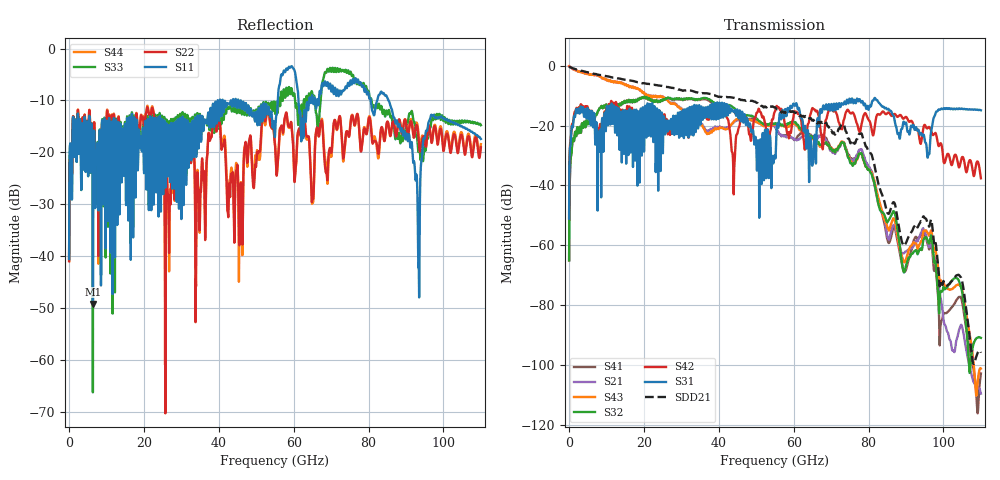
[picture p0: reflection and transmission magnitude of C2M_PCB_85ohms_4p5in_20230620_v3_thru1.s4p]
! Info: Touchstone file created by Circ.  Input file=C2M_PCB_85ohms_4p5in_20230620_v3.circ
# Hz S RI R 50
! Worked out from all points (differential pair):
!   11000 points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, 10 MHz to 110 GHz, reference 50 ohm
!   strongest paths, dB at 10 MHz, 27.51 GHz, 55.01 GHz, 82.51 GHz, 110 GHz:
!     S31: -51.1, -22.5, -30.1, -11.9, -14.8
!     S42: -51.0, -22.4, -15.2, -16.1, -37.6
!     S32: -65.1, -11.0, -19.2, -45.7, -91.0
!     S43: -0.1, -12.5, -19.5, -43.8, -101.3
!     S21: -0.1, -12.3, -20.2, -45.6, -109.7
!     S41: -65.1, -11.2, -20.3, -44.5, -102.9
!   taken as a pair (ports 3,1 in; 4,2 out), SDD21 dB: -0.1, -7.3, -13.8, -38.9, -96.0
!   lowest |S11| = -49.2 dB at 6.36 GHz (marker M1), VSWR 1.01, Z = 50.3 - j0.0491 ohm
!   |S11| at or under -10 dB: start of sweep to 39.7 GHz; 45.86 GHz to 55.74 GHz (9.875 GHz wide, 19.4 % of centre); 85.33 GHz to end of sweep (the widest 3 of 16)
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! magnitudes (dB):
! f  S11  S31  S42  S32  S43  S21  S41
! 10 MHz  -40.6  -51.1  -51.0  -65.1  -0.1  -0.1  -65.1
! 1.23 GHz  -15.5  -17.6  -17.4  -25.0  -1.1  -1.1  -25.0
! 6.36 GHz  -49.2  -20.0  -16.9  -17.9  -2.8  -2.8  -17.9
! 54.46 GHz  -14.9  -31.8  -17.8  -19.3  -19.6  -19.7  -19.8
! 77.89 GHz  -6.6  -12.0  -21.0  -29.2  -29.3  -27.9  -28.1
! 93.28 GHz  -42.1  -21.3  -22.0  -62.4  -60.7  -58.1  -57.8
! 110 GHz  -17.4  -14.8  -37.6  -91.0  -101.3  -109.7  -102.9
